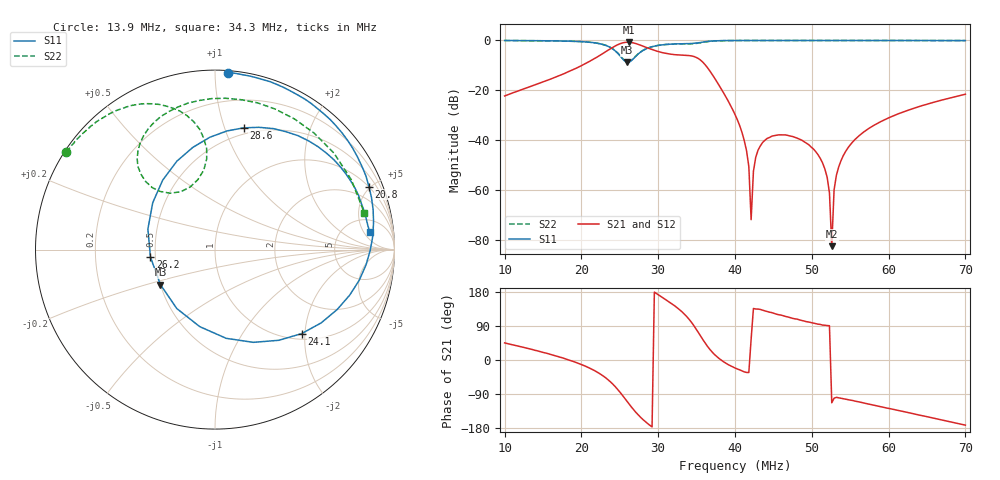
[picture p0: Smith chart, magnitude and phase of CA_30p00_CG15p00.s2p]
#  HZ  S  RI  R  50.00
! Rohde & Schwarz ZVT8 8Ports - Version 4.11 - 1300.0000k08 SN: 100242
! Date: 2026-07-31 14:36:52
! Measurements: S11 S21 S12 S22
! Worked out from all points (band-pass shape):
!   201 points, 10 MHz to 70 MHz, reference 50 ohm
!   highest |S21| = -0.71 dB at 26.2 MHz (marker M1); lowest = -82.5 dB at 52.6 MHz (marker M2)
!   |S21| within 3 dB of the highest: 23.58 MHz to 29.25 MHz (5.673 MHz wide, 21.5 % of centre)
!   lowest |S11| = -8.8 dB at 25.9 MHz (marker M3), VSWR 2.13, Z = 25 - j11.2 ohm
!   |S11| at or under -10 dB: nowhere
!   |S22| runs from -8.5 to 0.0 dB; largest |S21 - S12| = 0.0025
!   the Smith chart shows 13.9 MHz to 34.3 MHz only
!   S11 on the Smith chart (normalised r, x): 13.9 MHz: 0.01, +1.08; 20.8 MHz: 0.98, +4.89; 24.1 MHz: 1.13, -1.93; 26.2 MHz: 0.47, -0.05; 28.6 MHz: 0.44, +1.16; 34.3 MHz: 9, +7
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1e7  -0.3984 0.913  0.0543 0.0545  0.0543 0.0545  -0.9172 0.3887
1.39e7  0.0742 0.986  0.115 0.0558  0.1145 0.056  -0.8275 0.5434
2.02e7  0.8175 0.4664  0.3144 -0.0759  0.3135 -0.0756  -0.5235 0.7836
2.08e7  0.8578 0.3513  0.3421 -0.1165  0.3424 -0.1165  -0.4721 0.8017
2.41e7  0.4832 -0.468  0.3215 -0.6544  0.3218 -0.6528  -0.0863 0.6716
2.59e7  -0.3041 -0.1949  -0.2847 -0.8752  -0.2841 -0.8761  -0.1381 0.349
2.62e7  -0.3595 -0.0421  -0.4048 -0.8276  -0.4031 -0.8272  -0.1914 0.3221
2.86e7  0.159 0.6783  -0.6913 -0.1564  -0.6922 -0.1551  -0.4291 0.5514
3.01e7  0.5217 0.6056  -0.5856 0.0948  -0.5848 0.0936  -0.3021 0.7413
3.43e7  0.8618 0.0997  -0.0875 0.4822  -0.0871 0.4821  0.8322 0.2034
3.64e7  0.9442 -0.1431  0.2301 0.1703  0.2298 0.1709  -0.1519 -0.9317
4e7  0.7776 -0.6237  0.0305 -0.0118  0.0304 -0.0118  -0.9921 0.0878
4.15e7  0.6462 -0.7601  0.00519 -0.00335  0.00525 -0.00322  -0.9418 0.3262
4.21e7  0.5878 -0.8067  0.000146 0.000208  0.000121 0.000151  -0.9146 0.3958
4.24e7  0.5576 -0.8269  -0.0017 0.00165  -0.00177 0.0016  -0.9014 0.4268
4.36e7  0.432 -0.8996  -0.00595 0.00675  -0.00585 0.00672  -0.8423 0.5353
5.02e7  -0.3091 -0.9494  -0.000841 0.00662  -0.000888 0.0066  -0.5291 0.8453
5.2e7  -0.4951 -0.868  -2.77e-05 0.00179  -1.01e-05 0.00176  -0.4482 0.8889
5.26e7  -0.5511 -0.8306  -2.9e-05 -6.88e-05  -7.48e-05 -5.19e-05  -0.4224 0.9031
5.41e7  -0.6837 -0.7278  -0.00102 -0.00479  -0.000998 -0.00476  -0.3576 0.9306
6.01e7  -0.9848 -0.1467  -0.0175 -0.0224  -0.0174 -0.0223  -0.1019 0.9914
7e7  -0.5585 0.8208  -0.0827 -0.0117  -0.0826 -0.0116  0.3063 0.9457
